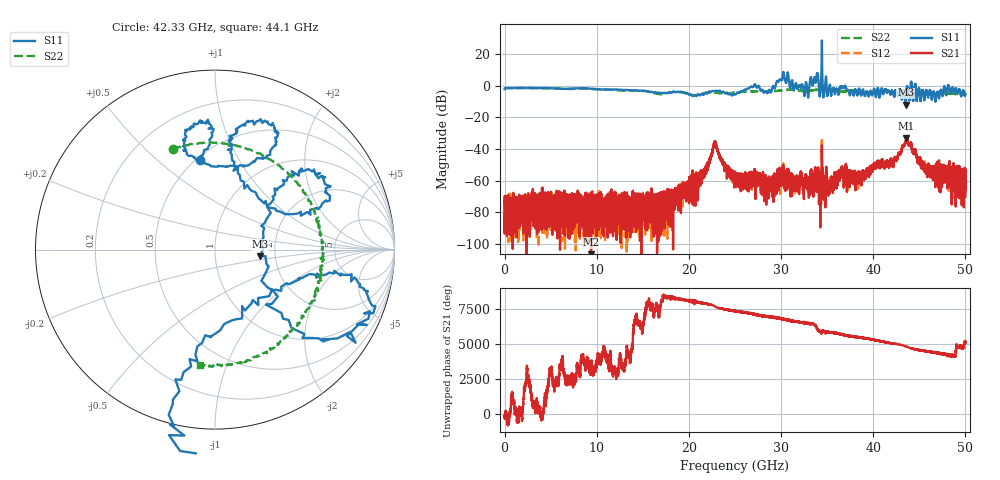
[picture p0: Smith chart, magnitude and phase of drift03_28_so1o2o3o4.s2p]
!Created with skrf (http://scikit-rf.org).
# Hz S RI R 50.0
!freq ReS11 ImS11 ReS21 ImS21 ReS12 ImS12 ReS22 ImS22
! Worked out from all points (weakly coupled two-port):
!   10000 points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, 5.3 MHz to 50 GHz, reference 50 ohm
!   highest |S21| = -32.94 dB at 43.61 GHz (marker M1); lowest = -113.4 dB at 9.385 GHz (marker M2)
!   lowest |S11| = -11.9 dB at 43.53 GHz (marker M3), VSWR 1.68, Z = 83 - j6.66 ohm
!   |S11| at or under -10 dB: 43.49011 GHz to 43.55553 GHz (65.42 MHz wide, 0.15 % of centre); 46.74942 GHz to 46.75087 GHz (1.457 MHz wide, 0.00312 % of centre)
!   |S22| runs from -5.9 to -1.3 dB; largest |S21 - S12| = 0.017
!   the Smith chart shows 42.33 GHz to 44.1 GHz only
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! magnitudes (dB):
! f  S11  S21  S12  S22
! 5.3 MHz  -2.1  -82.5  -76.7  -2.1
! 8.34 GHz  -1.5  -85.7  -74.8  -1.9
! 9.385 GHz  -1.8  -113.4  -75.9  -2.0
! 16.67 GHz  -4.4  -86.8  -74.7  -5.2
! 21.09 GHz  -5.8  -60.3  -59.9  -5.5
! 22.81 GHz  -3.5  -35.6  -35.4  -4.4
! 25.01 GHz  -5.5  -57.2  -57.0  -4.3
! 27.02 GHz  -0.4  -60.2  -58.9  -3.5
! 28.78 GHz  -2.8  -63.2  -63.7  -3.5
! 30.14 GHz  4.4  -54.4  -56.2  -2.8
! 32.74 GHz  2.0  -57.1  -58.3  -3.4
! 33.34 GHz  2.6  -53.8  -57.6  -2.9
! 33.82 GHz  4.0  -60.9  -57.1  -2.6
! 34.99 GHz  -6.0  -60.5  -60.9  -2.4
! 36.47 GHz  -0.4  -55.5  -55.6  -3.6
! 38.09 GHz  -2.5  -55.9  -56.2  -2.8
! 41.67 GHz  -3.1  -50.9  -50.9  -3.7
! 43.53 GHz  -11.9  -35.3  -35.2  -4.2
! 43.61 GHz  -3.6  -32.9  -33.7  -4.2
! 46.26 GHz  -4.7  -54.7  -54.1  -5.6
! 49.46 GHz  -4.3  -55.7  -64.8  -5.0
! 50 GHz  -5.2  -70.1  -56.8  -5.0
